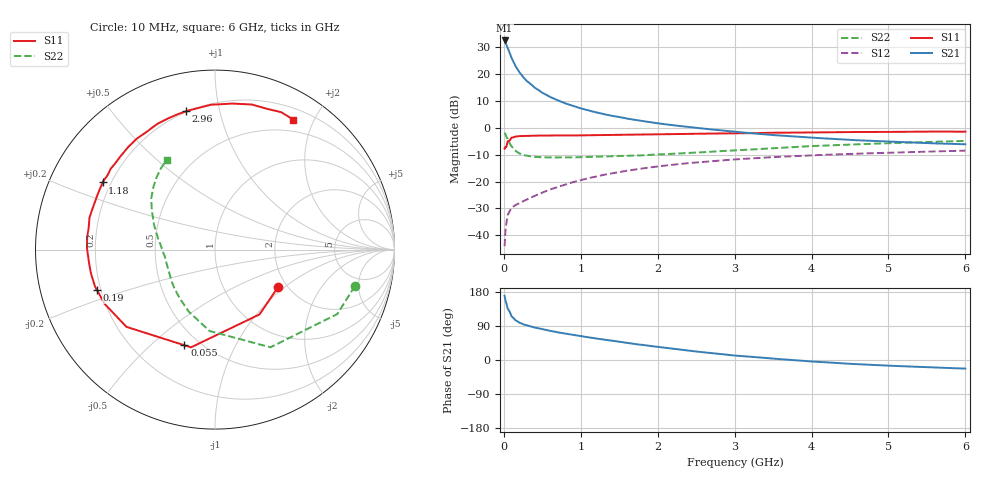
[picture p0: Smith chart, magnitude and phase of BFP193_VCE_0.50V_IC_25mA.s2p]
! Infineon Technologies  Discrete & RF Semiconductors
! BFP193
! VCE = 0.50V,  IC =  25 mA
! Common Emitter S-Parameters:  Jan 2016
# GHz  S  MA  R  50
!  f  S11  S21  S12  S22
! GHz  MAG  ANG  MAG  ANG  MAG  ANG  MAG  ANG
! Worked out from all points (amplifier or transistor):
!   210 points, 10 MHz to 6 GHz, reference 50 ohm
!   highest |S21| = 32.4 dB at 10 MHz (marker M1)
!   |S21| within 3 dB of that: start of sweep to 53.27 MHz
!   unconditionally stable (mu >= 1): 456.6 MHz to end of sweep
!   at 185 MHz: K = 0.63, MSG = 24.8 dB, |S12| = -28.2 dB
!   at 1.52 GHz: K = 1.17, MAG = 7.6 dB, |S12| = -16.4 dB
!   at 6 GHz: K = 1.06, MAG = -0.3 dB, |S12| = -8.5 dB
!   S11 on the Smith chart (normalised r, x): 10 MHz: 1.81, -0.89; 55 MHz: 0.42, -0.64; 190 MHz: 0.18, -0.16; 1.18 GHz: 0.17, +0.27; 2.96 GHz: 0.20, +0.79; 6 GHz: 0.34, +1.72
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0.01  0.409 -30.2  41.88 169.1  0.0063 78.7  0.8055 -14.6
0.02  0.4381 -55.5  39 158.1  0.0119 71.9  0.7702 -27.8
0.05  0.5608 -103.8  30.42 135.4  0.0239 53.7  0.6259 -60.4
0.055  0.5596 -107.7  29.24 134.1  0.0247 52.3  0.6018 -62.8
0.1  0.6548 -138.9  19.75 115.2  0.0324 43.2  0.4546 -93.8
0.15  0.6853 -153.8  14.06 105.0  0.0365 40.9  0.3753 -112.9
0.19  0.6951 -161.0  11.49 100.2  0.039 42.1  0.3416 -123.1
0.2  0.6992 -162.8  10.87 98.6  0.0396 42.4  0.3351 -125.9
0.24  0.7024 -167.8  9.157 95.2  0.0424 43.5  0.3171 -133.6
0.3  0.7055 -173.6  7.363 90.9  0.0464 46.0  0.3021 -142.1
0.4  0.7135 179.3  5.583 85.6  0.0542 49.7  0.2881 -151.6
0.5  0.7154 174.5  4.47 81.3  0.0623 51.9  0.2827 -157.9
0.7  0.7216 165.8  3.235 73.0  0.0792 54.7  0.281 -165.9
1.02  0.7231 154.3  2.249 62.5  0.1081 54.7  0.2841 -173.8
1.18  0.729 149.1  1.964 57.4  0.1224 54.0  0.2892 -176.9
1.6  0.7388 136.4  1.479 45.2  0.1588 49.7  0.3015 176.6
2.02  0.7561 124.9  1.199 34.2  0.1926 44.4  0.3199 170.2
2.96  0.7873 101.9  0.854 12.7  0.2553 31.7  0.3764 155.5
3.1  0.791 99.1  0.819 10.3  0.2629 29.9  0.3858 153.4
4.1  0.8211 81.7  0.642 -5.0  0.3115 17.3  0.4622 139.7
5.1  0.8387 68.4  0.546 -15.8  0.3468 6.2  0.5216 128.0
6  0.8456 59.0  0.493 -22.7  0.3757 -3.4  0.5689 118.1
